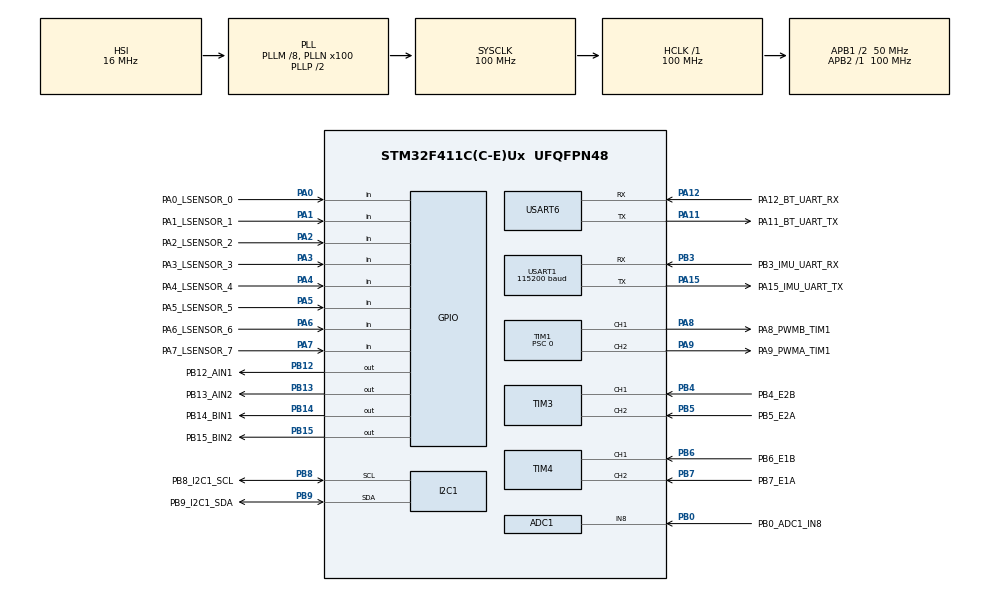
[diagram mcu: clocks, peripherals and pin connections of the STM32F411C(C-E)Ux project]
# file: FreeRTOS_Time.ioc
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ADC1.Channel-0\#ChannelRegularConversion=ADC_CHANNEL_8
ADC1.NbrOfConversionFlag=1
ADC1.Rank-0\#ChannelRegularConversion=1
ADC1.SamplingTime-0\#ChannelRegularConversion=ADC_SAMPLETIME_3CYCLES
ADC1.master=1
Dma.Request0=USART1_RX
Dma.Request1=USART6_TX
Dma.USART1_RX.0.Direction=DMA_PERIPH_TO_MEMORY
Dma.USART1_RX.0.FIFOMode=DMA_FIFOMODE_DISABLE
Dma.USART1_RX.0.Instance=DMA2_Stream2
Dma.USART1_RX.0.MemDataAlignment=DMA_MDATAALIGN_BYTE
Dma.USART1_RX.0.MemInc=DMA_MINC_ENABLE
Dma.USART1_RX.0.Mode=DMA_NORMAL
Dma.USART1_RX.0.PeriphDataAlignment=DMA_PDATAALIGN_BYTE
Dma.USART1_RX.0.PeriphInc=DMA_PINC_DISABLE
Dma.USART1_RX.0.Priority=DMA_PRIORITY_LOW
Dma.USART6_TX.1.Direction=DMA_MEMORY_TO_PERIPH
Dma.USART6_TX.1.FIFOMode=DMA_FIFOMODE_DISABLE
Dma.USART6_TX.1.Instance=DMA2_Stream6
Dma.USART6_TX.1.MemDataAlignment=DMA_MDATAALIGN_BYTE
Dma.USART6_TX.1.MemInc=DMA_MINC_ENABLE
Dma.USART6_TX.1.Mode=DMA_NORMAL
Dma.USART6_TX.1.PeriphDataAlignment=DMA_PDATAALIGN_BYTE
Dma.USART6_TX.1.PeriphInc=DMA_PINC_DISABLE
Dma.USART6_TX.1.Priority=DMA_PRIORITY_LOW
FREERTOS.Tasks01=defaultTask,24,512,StartDefaultTask,Default,NULL,Dynamic,NULL,NULL
I2C1.I2C_Mode=I2C_Standard
Mcu.Family=STM32F4
Mcu.Name=STM32F411C(C-E)Ux
Mcu.Package=UFQFPN48
NVIC.DMA2_Stream2_IRQn=true\:5\:0\:false\:false\:true\:true\:false\:true\:true
NVIC.DMA2_Stream6_IRQn=true\:5\:0\:false\:false\:true\:true\:false\:true\:true
NVIC.PriorityGroup=NVIC_PRIORITYGROUP_4
NVIC.TIM1_BRK_TIM9_IRQn=true\:5\:0\:false\:false\:true\:true\:true\:true\:true
NVIC.TIM1_TRG_COM_TIM11_IRQn=true\:5\:0\:false\:false\:true\:false\:false\:true\:true
NVIC.TimeBase=TIM1_TRG_COM_TIM11_IRQn
NVIC.TimeBaseIP=TIM11
NVIC.USART1_IRQn=true\:5\:0\:false\:false\:true\:true\:true\:true\:true
NVIC.USART6_IRQn=true\:5\:0\:false\:false\:true\:true\:true\:true\:true
PA0-WKUP.GPIO_Label=PA0_LSENSOR_0
PA0-WKUP.Signal=GPIO_Input
PA1.GPIO_Label=PA1_LSENSOR_1
PA1.Signal=GPIO_Input
PA11.GPIO_Label=PA11_BT_UART_TX
PA11.Mode=Asynchronous
PA11.Signal=USART6_TX
PA12.GPIO_Label=PA12_BT_UART_RX
PA12.Mode=Asynchronous
PA12.Signal=USART6_RX
PA13.Mode=Serial_Wire
PA13.Signal=SYS_JTMS-SWDIO
PA14.Mode=Serial_Wire
PA14.Signal=SYS_JTCK-SWCLK
PA15.GPIO_Label=PA15_IMU_UART_TX
PA15.Mode=Asynchronous
PA15.Signal=USART1_TX
PA2.GPIO_Label=PA2_LSENSOR_2
PA2.Signal=GPIO_Input
PA3.GPIO_Label=PA3_LSENSOR_3
PA3.Signal=GPIO_Input
PA4.GPIO_Label=PA4_LSENSOR_4
PA4.Signal=GPIO_Input
PA5.GPIO_Label=PA5_LSENSOR_5
PA5.Signal=GPIO_Input
PA6.GPIO_Label=PA6_LSENSOR_6
PA6.Signal=GPIO_Input
PA7.GPIO_Label=PA7_LSENSOR_7
PA7.Signal=GPIO_Input
PA8.GPIO_Label=PA8_PWMB_TIM1
PA8.Signal=S_TIM1_CH1
PA9.GPIO_Label=PA9_PWMA_TIM1
PA9.Signal=S_TIM1_CH2
PB0.GPIO_Label=PB0_ADC1_IN8
PB0.Signal=ADCx_IN8
PB12.GPIO_Label=PB12_AIN1
PB12.PinState=GPIO_PIN_RESET
PB12.Signal=GPIO_Output
PB13.GPIO_Label=PB13_AIN2
PB13.PinState=GPIO_PIN_RESET
PB13.Signal=GPIO_Output
PB14.GPIO_Label=PB14_BIN1
PB14.PinState=GPIO_PIN_RESET
PB14.Signal=GPIO_Output
PB15.GPIO_Label=PB15_BIN2
PB15.PinState=GPIO_PIN_RESET
PB15.Signal=GPIO_Output
PB3.GPIO_Label=PB3_IMU_UART_RX
PB3.Mode=Asynchronous
PB3.Signal=USART1_RX
PB4.GPIO_Label=PB4_E2B
PB4.Signal=S_TIM3_CH1
PB5.GPIO_Label=PB5_E2A
PB5.Signal=S_TIM3_CH2
PB6.GPIO_Label=PB6_E1B
PB6.Signal=S_TIM4_CH1
PB7.GPIO_Label=PB7_E1A
PB7.Signal=S_TIM4_CH2
PB8.GPIO_Label=PB8_I2C1_SCL
PB8.Mode=I2C
PB8.Signal=I2C1_SCL
PB9.GPIO_Label=PB9_I2C1_SDA
PB9.Mode=I2C
PB9.Signal=I2C1_SDA
PH0\ -\ OSC_IN.Mode=HSE-External-Oscillator
PH0\ -\ OSC_IN.Signal=RCC_OSC_IN
PH1\ -\ OSC_OUT.Mode=HSE-External-Oscillator
PH1\ -\ OSC_OUT.Signal=RCC_OSC_OUT
ProjectManager.HeapSize=0x200
ProjectManager.StackSize=0x400
ProjectManager.TargetToolchain=MDK-ARM V5.32
RCC.48MHZClocksFreq_Value=50000000
RCC.AHBFreq_Value=100000000
RCC.APB1CLKDivider=RCC_HCLK_DIV2
RCC.APB1Freq_Value=50000000
RCC.APB1TimFreq_Value=100000000
RCC.APB2Freq_Value=100000000
RCC.APB2TimFreq_Value=100000000
RCC.CortexFreq_Value=100000000
RCC.HCLKFreq_Value=100000000
RCC.HSE_VALUE=25000000
RCC.HSI_VALUE=16000000
RCC.LSE_VALUE=32768
RCC.PLLM=8
RCC.PLLN=100
RCC.SYSCLKFreq_VALUE=100000000
RCC.SYSCLKSource=RCC_SYSCLKSOURCE_PLLCLK
RCC.VCOOutputFreq_Value=200000000
SH.ADCx_IN8.0=ADC1_IN8,IN8
SH.S_TIM1_CH1.0=TIM1_CH1,PWM Generation1 CH1
SH.S_TIM1_CH2.0=TIM1_CH2,PWM Generation2 CH2
SH.S_TIM3_CH1.0=TIM3_CH1,Encoder_Interface
SH.S_TIM3_CH2.0=TIM3_CH2,Encoder_Interface
SH.S_TIM4_CH1.0=TIM4_CH1,Encoder_Interface
SH.S_TIM4_CH2.0=TIM4_CH2,Encoder_Interface
TIM1.Channel-PWM\ Generation1\ CH1=TIM_CHANNEL_1
TIM1.Channel-PWM\ Generation2\ CH2=TIM_CHANNEL_2
TIM1.Period=10000-1
TIM1.Prescaler=0
TIM9.Period=99
TIM9.Prescaler=9999
USART1.BaudRate=115200
USART1.VirtualMode=VM_ASYNC
USART6.VirtualMode=VM_ASYNC
VP_FREERTOS_VS_CMSIS_V2.Mode=CMSIS_V2
VP_SYS_VS_tim11.Mode=TIM11
VP_TIM1_VS_ClockSourceINT.Mode=Internal
VP_TIM9_VS_ClockSourceINT.Mode=Internal
board=custom

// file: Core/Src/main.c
/* USER CODE BEGIN Header */
/**
  ******************************************************************************
  * @file           : main.c
  * @brief          : Main program body
  ******************************************************************************
  * @attention
  *
  * Copyright (c) 2026 STMicroelectronics.
  * All rights reserved.
  *
  * This software is licensed under terms that can be found in the LICENSE file
  * in the root directory of this software component.
  * If no LICENSE file comes with this software, it is provided AS-IS.
  *
  ******************************************************************************
  */
/* USER CODE END Header */
#include "main.h"
#include "cmsis_os.h"
#include "adc.h"
#include "dma.h"
#include "i2c.h"
#include "tim.h"
#include "usart.h"
#include "gpio.h"

void SystemClock_Config(void);
void MX_FREERTOS_Init(void);

int main(void)
{

  /* MCU Configuration--------------------------------------------------------*/

  /* Reset of all peripherals, Initializes the Flash interface and the Systick. */
  HAL_Init();

  /* Configure the system clock */
  SystemClock_Config();

  /* Initialize all configured peripherals */
  MX_GPIO_Init();
  MX_DMA_Init();
  MX_ADC1_Init();
  MX_I2C1_Init();
  MX_TIM1_Init();
  MX_USART1_UART_Init();
  MX_USART6_UART_Init();
  MX_TIM9_Init();
  MX_TIM3_Init();
  MX_TIM4_Init();

  /* Init scheduler */
  osKernelInitialize();  /* Call init function for freertos objects (in cmsis_os2.c) */
  MX_FREERTOS_Init();

  /* Start scheduler */
  osKernelStart();

  /* We should never get here as control is now taken by the scheduler */

  /* Infinite loop */
  while (1)
  {

  }
}

void SystemClock_Config(void)
{
  RCC_OscInitTypeDef RCC_OscInitStruct = {0};
  RCC_ClkInitTypeDef RCC_ClkInitStruct = {0};

  /** Configure the main internal regulator output voltage
  */
  __HAL_RCC_PWR_CLK_ENABLE();
  __HAL_PWR_VOLTAGESCALING_CONFIG(PWR_REGULATOR_VOLTAGE_SCALE1);

  /** Initializes the RCC Oscillators according to the specified parameters
  * in the RCC_OscInitTypeDef structure.
  */
  RCC_OscInitStruct.OscillatorType = RCC_OSCILLATORTYPE_HSI;
  RCC_OscInitStruct.HSIState = RCC_HSI_ON;
  RCC_OscInitStruct.HSICalibrationValue = RCC_HSICALIBRATION_DEFAULT;
  RCC_OscInitStruct.PLL.PLLState = RCC_PLL_ON;
  RCC_OscInitStruct.PLL.PLLSource = RCC_PLLSOURCE_HSI;
  RCC_OscInitStruct.PLL.PLLM = 8;
  RCC_OscInitStruct.PLL.PLLN = 100;
  RCC_OscInitStruct.PLL.PLLP = RCC_PLLP_DIV2;
  RCC_OscInitStruct.PLL.PLLQ = 4;
  if (HAL_RCC_OscConfig(&RCC_OscInitStruct) != HAL_OK)
  {
    Error_Handler();
  }

  /** Initializes the CPU, AHB and APB buses clocks
  */
  RCC_ClkInitStruct.ClockType = RCC_CLOCKTYPE_HCLK|RCC_CLOCKTYPE_SYSCLK
                              |RCC_CLOCKTYPE_PCLK1|RCC_CLOCKTYPE_PCLK2;
  RCC_ClkInitStruct.SYSCLKSource = RCC_SYSCLKSOURCE_PLLCLK;
  RCC_ClkInitStruct.AHBCLKDivider = RCC_SYSCLK_DIV1;
  RCC_ClkInitStruct.APB1CLKDivider = RCC_HCLK_DIV2;
  RCC_ClkInitStruct.APB2CLKDivider = RCC_HCLK_DIV1;

  if (HAL_RCC_ClockConfig(&RCC_ClkInitStruct, FLASH_LATENCY_3) != HAL_OK)
  {
    Error_Handler();
  }
}

void Error_Handler(void)
{
  __disable_irq();
  while (1)
  {
  }
}

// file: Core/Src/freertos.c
/* USER CODE BEGIN Header */
/**
  ******************************************************************************
  * File Name          : freertos.c
  * Description        : Code for freertos applications
  ******************************************************************************
  * @attention
  *
  * Copyright (c) 2026 STMicroelectronics.
  * All rights reserved.
  *
  * This software is licensed under terms that can be found in the LICENSE file
  * in the root directory of this software component.
  * If no LICENSE file comes with this software, it is provided AS-IS.
  *
  ******************************************************************************
  */
/* USER CODE END Header */

#include "FreeRTOS.h"
#include "task.h"
#include "main.h"
#include "cmsis_os.h"

/* USER CODE BEGIN Includes */
#include "user_periph_setup.h"

#include "app_tracking_task.h"
#include "board_motor_config.h"
#include "service_diff_odom.h"
#include "service_track_ctrl.h"
#include "motor_ctrl_port.h"
#include "imu_ctrl_port.h"
#include "track_port.h"
#include "myprintf.h"

#include "math.h"
/* USER CODE END Includes */

/* USER CODE BEGIN PD */
/* Odom装配换算：每tick行程 = 每转行程/每转计数，随board配置更新 */
#define ODOM_A_MM_TICK (CFG_MOTOR_A_MM_REV / (float)CFG_MOTOR_A_CPR)
#define ODOM_B_MM_TICK (CFG_MOTOR_B_MM_REV / (float)CFG_MOTOR_B_CPR)

#define ACC_DISTANCE           300
#define ALL_DISTANCE           890
/* USER CODE END PD */

/* Definitions for defaultTask */
osThreadId_t defaultTaskHandle;
const osThreadAttr_t defaultTask_attributes = {
  .name = "defaultTask",
  .stack_size = 512 * 4,
  .priority = (osPriority_t) osPriorityNormal,
};

void StartDefaultTask(void *argument);

void MX_FREERTOS_Init(void); /* (MISRA C 2004 rule 8.1) */

void MX_FREERTOS_Init(void) {

  /* Create the thread(s) */
  /* creation of defaultTask */
  defaultTaskHandle = osThreadNew(StartDefaultTask, NULL, &defaultTask_attributes);

}

void StartDefaultTask(void *argument)
{
  /* USER CODE BEGIN StartDefaultTask */
  /* Infinite loop */
  /* 组合根：内核启动前注册全部BSP Adapter */
  if (PLATFORM_IS_ERR(app_periph_init()))
  {
    Error_Handler();
  }

  /* 里程计装配：槽位对齐board_motor_config，标定值待实测回填 */
  server_odom_cfg_t odom_cfg;
  odom_cfg.left_id = CFG_MOTOR_A_SLOT;
  odom_cfg.right_id = CFG_MOTOR_B_SLOT;
  odom_cfg.left_mm_tick = ODOM_A_MM_TICK;
  odom_cfg.right_mm_tick = ODOM_B_MM_TICK;
  odom_cfg.left_sign = 1;
  odom_cfg.right_sign = 1;
  if (PLATFORM_IS_ERR(server_odom_init(&odom_cfg)))
  {
    Error_Handler();
  }

  /* 循迹控制装配：Port先行、服务最后；左右槽位与odom一致 */
  motor_ctrl_cfg_t ctrl_cfg;
  ctrl_cfg.left_id = CFG_MOTOR_A_SLOT;
  ctrl_cfg.right_id = CFG_MOTOR_B_SLOT;
  ctrl_cfg.left_mm_rev = CFG_MOTOR_A_MM_REV;
  ctrl_cfg.right_mm_rev = CFG_MOTOR_B_MM_REV;
  if (PLATFORM_IS_ERR(motor_ctrl_init(&ctrl_cfg)))
  {
    Error_Handler();
  }
  if (PLATFORM_IS_ERR(imu_ctrl_init()))
  {
    Error_Handler();
  }
  if (PLATFORM_IS_ERR(track_port_init()))
  {
    Error_Handler();
  }
  if (PLATFORM_IS_ERR(track_ctrl_init()))
  {
    Error_Handler();
  }
	osDelay(2000);

  server_odom_state_t odom_state = {0};
  server_odom_state_t last_odom_state = {0};
  track_port_result_t track_state = {0};
volatile  float target_yaw = 0.0f;
#if TRACK_TRACE_EN
  static char buf[256];
  static track_trace_t trace;
  uint32_t log_fail = 0U;
  uint32_t tx_drop;
  platform_err_t log_st;
#endif

//  if (PLATFORM_IS_ERR(track_ctrl_set_mode(TRACK_CTRL_MODE_TURN,
//                                          90.0f, 200)))
//  {
//    Error_Handler();
//  }
//  while (1)
//  {
//    /* code */
//  }
//

  for(;;)
  {
#if TRACK_TRACE_EN
    if (PLATFORM_IS_OK(track_ctrl_trace_get(&trace)))
    {
      tx_drop = myprintf_get_drop();
      // log_st = myprintf(
      //     buf, sizeof(buf),
      //     "%lu,%lu,%lu,%lu,%ld,%ld,%ld,%ld,%ld,"
      //     "%.2f,%.2f,%.2f,%.2f,%.2f,%.2f,%.2f,%.2f,"
      //     "%.2f,%.2f,%.2f,%.2f,%lu,%lu,%lu,%lu\r\n",
      //     (unsigned long)trace.tick_ms,
      //     (unsigned long)trace.cycle,
      //     (unsigned long)trace.mode,
      //     (unsigned long)trace.line_state,
      //     (long)trace.port_st,
      //     (long)trace.imu_st,
      //     (long)trace.motor_st,
      //     (long)trace.x_mm,
      //     (long)trace.y_mm,
      //     trace.yaw_deg,
      //     trace.yaw_rate_deg_s,
      //     trace.raw_err_mm,
      //     trace.filt_err_mm,
      //     trace.yaw_tgt_deg,
      //     trace.yaw_err_deg,
      //     trace.w_cmd_deg_s,
      //     trace.v_cmd_mm_s,
      //     trace.left_cmd_mm_s,
      //     trace.right_cmd_mm_s,
      //     trace.left_act_mm_s,
      //     trace.right_act_mm_s,
      //     (unsigned long)trace.left_fault,
      //     (unsigned long)trace.right_fault,
      //     (unsigned long)tx_drop,
      //     (unsigned long)log_fail);
      log_st = myprintf(
           buf, sizeof(buf),
           "%lu,%lu,%.2f,%.2f,%.2f,%.2f\r\n",
          (unsigned long)trace.tick_ms,
          (unsigned long)trace.cycle,
          trace.left_cmd_mm_s,
          trace.right_cmd_mm_s,
          trace.left_act_mm_s,
          trace.right_act_mm_s);
      if (PLATFORM_IS_ERR(log_st))
      {
        log_fail++;
      }
    }
#endif

    if (PLATFORM_IS_ERR(server_odom_get(&odom_state)) ||
        PLATFORM_IS_ERR(track_port_get(&track_state)))
    {
      osDelay(100);
      continue;
    }

    // if(TRACK_PORT_NO_LINE   == track_state.state ||
    //    TRACK_PORT_AMBIGUOUS == track_state.state ){
    //   uint32_t distance;
    //   distance =  (odom_state.x_mm - last_odom_state.x_mm) *
    //               (odom_state.x_mm - last_odom_state.x_mm) +
    //               (odom_state.y_mm - last_odom_state.y_mm) *
    //               (odom_state.y_mm - last_odom_state.y_mm);
    //   if (360000 > distance)
    //   {
    //     osDelay(100);
    //     continue;
    //   }

    //   last_odom_state = odom_state;
    //   target_yaw += 90.0f;
    //   if (PLATFORM_IS_ERR(track_ctrl_set_mode(
    //           TRACK_CTRL_MODE_TRACK_DIR, target_yaw, 200)))
    //   {
    //     Error_Handler();
    //   }
    // }

    /* 一整套动作流程 */
    float distance;     /* 距离上次转弯点的距离 */
    uint8_t ctrl_state; /* 现在的状态 ，0为匀加速阶段，
                                       1为匀速阶段  ，
                                       2为匀减速阶段，
                                       3为转弯状态*/

    //1.判断现处阶段
    distance =  (odom_state.x_mm - last_odom_state.x_mm) *
                (odom_state.x_mm - last_odom_state.x_mm) +
                (odom_state.y_mm - last_odom_state.y_mm) *
                (odom_state.y_mm - last_odom_state.y_mm) ;
    distance =  sqrt(distance);
    if(ACC_DISTANCE > distance) ctrl_state = 0;
    else if (ALL_DISTANCE - ACC_DISTANCE < distance) ctrl_state = 2;
    else ctrl_state = 1;

    if (ALL_DISTANCE          <=          distance &&
        (TRACK_PORT_NO_LINE   == track_state.state ||
        TRACK_PORT_AMBIGUOUS  == track_state.state ))
    {
      ctrl_state = 3;
    }

    //2.对各个状态进行处理
    static int32_t target_speed = 0;
    if (0 == ctrl_state)
    {
      target_speed = (int32_t)(sqrt(distance * (4.0f/ACC_DISTANCE)) * 100)+20;
      track_ctrl_set_mode(TRACK_CTRL_MODE_TRACK_DIR ,target_yaw ,target_speed);
    }else if (1 == ctrl_state)
    {
      track_ctrl_set_mode(TRACK_CTRL_MODE_TRACK_DIR ,target_yaw ,200+20);
    }else if (2 == ctrl_state)
    {
      target_speed = (int32_t)(sqrt((ALL_DISTANCE - distance) * (4.0f/ACC_DISTANCE)) * 100);
      track_ctrl_set_mode(TRACK_CTRL_MODE_TRACK_DIR ,target_yaw ,target_speed);
    }else if (3 == ctrl_state)
    {
			osDelay(1000);
      target_speed = 0;
      target_yaw += 90;
      last_odom_state = odom_state;
      track_ctrl_set_mode(TRACK_CTRL_MODE_TURN ,target_yaw ,100);
      osDelay(4000);

      // track_ctrl_set_mode(TRACK_CTRL_MODE_STOP,0,0);
    }

    osDelay(100);

  }
  /* USER CODE END StartDefaultTask */
}
